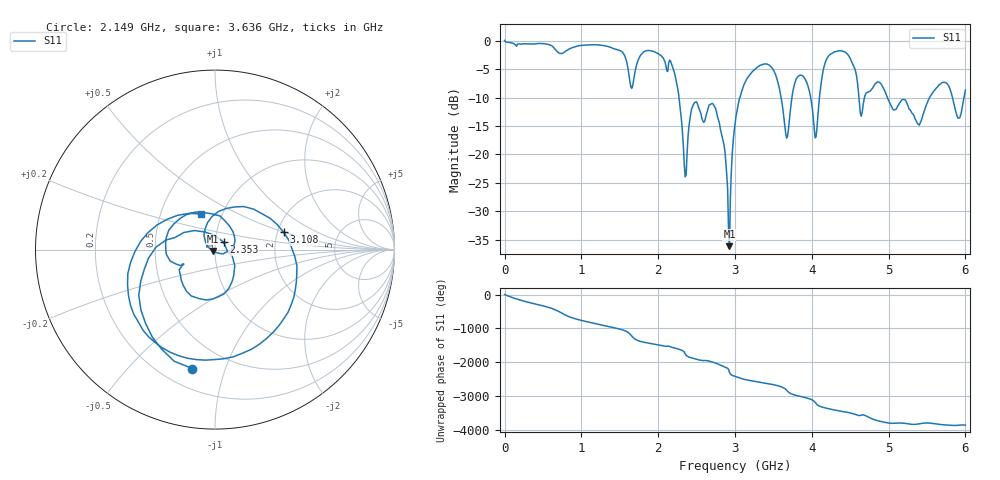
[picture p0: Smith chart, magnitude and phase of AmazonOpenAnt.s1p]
# Hz S RI R 50
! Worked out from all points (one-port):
!   501 points, 1 MHz to 6 GHz, reference 50 ohm
!   lowest |S11| = -36.2 dB at 2.929 GHz (marker M1), VSWR 1.03, Z = 48.7 - j0.811 ohm
!   |S11| at or under -10 dB: 2.271 GHz to 3.064 GHz (792.3 MHz wide, 29.7 % of centre); 4.985 GHz to 5.534 GHz (549 MHz wide, 10.4 % of centre); 5.832 GHz to 5.982 GHz (149.7 MHz wide, 2.53 % of centre)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
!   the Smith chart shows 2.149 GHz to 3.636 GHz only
!   S11 on the Smith chart (normalised r, x): 2.149 GHz: 0.32, -0.78; 2.353 GHz: 1.10, +0.09; 3.108 GHz: 2.16, +0.50; 3.636 GHz: 0.80, +0.33
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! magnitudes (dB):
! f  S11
! 1 MHz  0.0
! 756.9 MHz  -2.2
! 1.501 GHz  -1.7
! 1.657 GHz  -8.4
! 1.825 GHz  -1.9
! 2.149 GHz  -3.4
! 2.257 GHz  -8.5
! 2.353 GHz  -23.9
! 2.461 GHz  -11.2
! 2.713 GHz  -11.1
! 2.845 GHz  -17.6
! 2.929 GHz  -36.2
! 3.001 GHz  -14.7
! 3.108 GHz  -8.1
! 3.444 GHz  -4.3
! 3.636 GHz  -13.5
! 3.684 GHz  -16.8
! 3.756 GHz  -8.7
! 3.912 GHz  -6.7
! 4.044 GHz  -17.1
! 4.2 GHz  -3.1
! 4.5 GHz  -3.1
! 4.644 GHz  -13.3
! 4.86 GHz  -7.3
! 5.256 GHz  -11.5
! 5.724 GHz  -7.3
! 5.916 GHz  -13.6
! 6 GHz  -8.7
